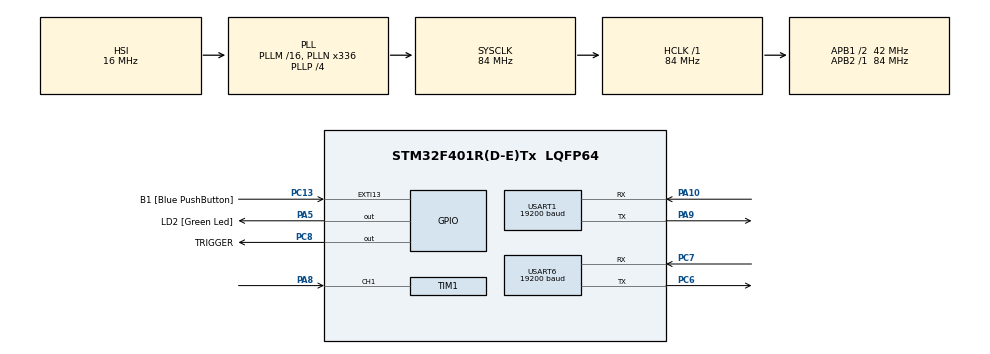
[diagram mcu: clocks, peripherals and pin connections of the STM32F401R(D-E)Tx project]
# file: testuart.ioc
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Mcu.Family=STM32F4
Mcu.Name=STM32F401R(D-E)Tx
Mcu.Package=LQFP64
NVIC.PriorityGroup=NVIC_PRIORITYGROUP_0
NVIC.TIM1_CC_IRQn=true\:0\:0\:false\:false\:true\:true\:true\:true
NVIC.USART1_IRQn=true\:0\:0\:false\:false\:true\:true\:true\:true
NVIC.USART6_IRQn=true\:0\:0\:false\:false\:true\:true\:true\:true
PA10.Mode=Asynchronous
PA10.Signal=USART1_RX
PA13.GPIO_Label=TMS
PA13.Signal=SYS_JTMS-SWDIO
PA14.GPIO_Label=TCK
PA14.Signal=SYS_JTCK-SWCLK
PA2.GPIO_Label=USART_TX
PA2.GPIO_Mode=GPIO_MODE_AF_PP
PA2.GPIO_PuPd=GPIO_NOPULL
PA2.GPIO_Speed=GPIO_SPEED_FREQ_LOW
PA2.Signal=USART2_TX
PA3.GPIO_Label=USART_RX
PA3.GPIO_Mode=GPIO_MODE_AF_PP
PA3.GPIO_PuPd=GPIO_NOPULL
PA3.GPIO_Speed=GPIO_SPEED_FREQ_LOW
PA3.Signal=USART2_RX
PA5.GPIO_Label=LD2 [Green Led]
PA5.GPIO_Mode=GPIO_MODE_OUTPUT_PP
PA5.GPIO_PuPd=GPIO_NOPULL
PA5.GPIO_Speed=GPIO_SPEED_FREQ_LOW
PA5.Signal=GPIO_Output
PA8.Signal=S_TIM1_CH1
PA9.Mode=Asynchronous
PA9.Signal=USART1_TX
PB3.GPIO_Label=SWO
PB3.Signal=SYS_JTDO-SWO
PC13-ANTI_TAMP.GPIO_Label=B1 [Blue PushButton]
PC13-ANTI_TAMP.GPIO_ModeDefaultEXTI=GPIO_MODE_IT_FALLING
PC13-ANTI_TAMP.GPIO_PuPd=GPIO_NOPULL
PC13-ANTI_TAMP.Signal=GPXTI13
PC14-OSC32_IN.Signal=RCC_OSC32_IN
PC15-OSC32_OUT.Signal=RCC_OSC32_OUT
PC6.Mode=Asynchronous
PC6.Signal=USART6_TX
PC7.Mode=Asynchronous
PC7.Signal=USART6_RX
PC8.GPIO_Label=TRIGGER
PC8.Signal=GPIO_Output
PH0\ -\ OSC_IN.Signal=RCC_OSC_IN
PH1\ -\ OSC_OUT.Signal=RCC_OSC_OUT
ProjectManager.HeapSize=0x200
ProjectManager.StackSize=0x400
ProjectManager.TargetToolchain=STM32CubeIDE
RCC.AHBFreq_Value=84000000
RCC.APB1CLKDivider=RCC_HCLK_DIV2
RCC.APB1Freq_Value=42000000
RCC.APB1TimFreq_Value=84000000
RCC.APB2Freq_Value=84000000
RCC.APB2TimFreq_Value=84000000
RCC.CortexFreq_Value=84000000
RCC.HCLKFreq_Value=84000000
RCC.HSE_VALUE=8000000
RCC.HSI_VALUE=16000000
RCC.LSE_VALUE=32768
RCC.PLLN=336
RCC.PLLP=RCC_PLLP_DIV4
RCC.PLLQ=7
RCC.SYSCLKFreq_VALUE=84000000
RCC.SYSCLKSource=RCC_SYSCLKSOURCE_PLLCLK
RCC.VCOOutputFreq_Value=336000000
SH.S_TIM1_CH1.0=TIM1_CH1,Input_Capture1_from_TI1
TIM1.Channel-Input_Capture1_from_TI1=TIM_CHANNEL_1
TIM1.Prescaler=71
USART1.BaudRate=19200
USART1.VirtualMode=VM_ASYNC
USART6.BaudRate=19200
USART6.VirtualMode=VM_ASYNC
VP_TIM1_VS_ClockSourceINT.Mode=Internal
board=NUCLEO-F401RE

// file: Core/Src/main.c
/* USER CODE BEGIN Header */
/**
  ******************************************************************************
  * @file           : main.c
  * @brief          : Main program body
  ******************************************************************************
  * @attention
  *
  * Copyright (c) 2023 STMicroelectronics.
  * All rights reserved.
  *
  * This software is licensed under terms that can be found in the LICENSE file
  * in the root directory of this software component.
  * If no LICENSE file comes with this software, it is provided AS-IS.
  *
  ******************************************************************************
  */
/* USER CODE END Header */
#include "main.h"

/* USER CODE BEGIN Includes */
#include <string.h>
#include <stdio.h>
#include <stdlib.h>
/* USER CODE END Includes */

/* USER CODE BEGIN PTD */
char uart1_buffer[7];
uint8_t uart1_index =0;
/* USER CODE END PTD */

TIM_HandleTypeDef htim1;

UART_HandleTypeDef huart1;
UART_HandleTypeDef huart6;

void SystemClock_Config(void);
static void MX_GPIO_Init(void);
static void MX_USART1_UART_Init(void);
static void MX_TIM1_Init(void);
static void MX_USART6_UART_Init(void);

/* USER CODE BEGIN 0 */

void delai_10us(uint16_t delai) {
	__HAL_TIM_SET_COUNTER(&htim1,0);
	while (__HAL_TIM_GET_COUNTER(&htim1) < delai);
}

int lancement_telemetre = 1;

uint32_t debut = 0;
uint32_t fin = 0;
uint32_t ecart = 0;
uint8_t detection = 0; // détection premiere valeur
uint8_t distance = 0;

#define TRIGGER_PORT GPIOC
#define TRIGGER_PIN GPIO_PIN_8

void TRIGGER_telemetre(void)
{
	HAL_GPIO_WritePin(TRIGGER_PORT, TRIGGER_PIN, GPIO_PIN_SET); // pin TRIGGER à l'état haut
	delai_10us(10);
	HAL_GPIO_WritePin(TRIGGER_PORT, TRIGGER_PIN, GPIO_PIN_RESET); // pin TRIGGER à l'état bas
}

void HAL_TIM_IC_CaptureCallback(TIM_HandleTypeDef *htim)
{
	if (htim->Instance == TIM1) // interruption sur Channel 1 : ECHO
	{
		if (detection == 0) // premiere valeur pas détectée -> état bas
		{
			debut = HAL_TIM_ReadCapturedValue(htim, TIM_CHANNEL_1); // lecture première valeur
			detection = 1; // premiere valeur detectée
			// scrutation des fronts descendants
			__HAL_TIM_SET_CAPTUREPOLARITY(htim, TIM_CHANNEL_1, TIM_INPUTCHANNELPOLARITY_FALLING);
		}

		else if (detection == 1) // premiere valeur détectée -> état haut
		{
			fin = HAL_TIM_ReadCapturedValue(htim, TIM_CHANNEL_1); // lecture dernière valeur
			__HAL_TIM_SET_COUNTER(htim, 0);

			ecart = abs(fin-debut);

			distance = (ecart * 0.034)/2; // cm

/*			if (distance<=50) {
				uint8_t stop[] = "stop\r";
				HAL_UART_Transmit(&huart6, stop, strlen((char *)stop), 300);
				//HAL_UART_Transmit_IT(&huart6, stop, strlen((char *)stop));
			}*/

			__HAL_TIM_SET_CAPTUREPOLARITY(htim, TIM_CHANNEL_1, TIM_INPUTCHANNELPOLARITY_RISING); // scrutation front montant
			detection = 0; //reset valeur détectée

			lancement_telemetre = 1; // relancement telemetre

		}
	}
}

/* USER CODE END 0 */

int main(void)
{

  /* MCU Configuration--------------------------------------------------------*/

  /* Reset of all peripherals, Initializes the Flash interface and the Systick. */
  HAL_Init();

  /* Configure the system clock */
  SystemClock_Config();

  /* Initialize all configured peripherals */
  MX_GPIO_Init();
  MX_USART1_UART_Init();
  MX_TIM1_Init();
  MX_USART6_UART_Init();
  /* USER CODE BEGIN 2 */
  HAL_TIM_IC_Start_IT(&htim1, TIM_CHANNEL_1);
  HAL_UART_Receive_IT(&huart1, (uint8_t *) &uart1_buffer[uart1_index],6);
  /* USER CODE END 2 */

  /* Infinite loop */
  while (1)
  {

    /* USER CODE BEGIN 3 */
	  if (lancement_telemetre == 1) {
		  lancement_telemetre = 0;
		  TRIGGER_telemetre();
	  }
  }
  /* USER CODE END 3 */
}

void SystemClock_Config(void)
{
  RCC_OscInitTypeDef RCC_OscInitStruct = {0};
  RCC_ClkInitTypeDef RCC_ClkInitStruct = {0};

  /** Configure the main internal regulator output voltage
  */
  __HAL_RCC_PWR_CLK_ENABLE();
  __HAL_PWR_VOLTAGESCALING_CONFIG(PWR_REGULATOR_VOLTAGE_SCALE2);

  /** Initializes the RCC Oscillators according to the specified parameters
  * in the RCC_OscInitTypeDef structure.
  */
  RCC_OscInitStruct.OscillatorType = RCC_OSCILLATORTYPE_HSI;
  RCC_OscInitStruct.HSIState = RCC_HSI_ON;
  RCC_OscInitStruct.HSICalibrationValue = RCC_HSICALIBRATION_DEFAULT;
  RCC_OscInitStruct.PLL.PLLState = RCC_PLL_ON;
  RCC_OscInitStruct.PLL.PLLSource = RCC_PLLSOURCE_HSI;
  RCC_OscInitStruct.PLL.PLLM = 16;
  RCC_OscInitStruct.PLL.PLLN = 336;
  RCC_OscInitStruct.PLL.PLLP = RCC_PLLP_DIV4;
  RCC_OscInitStruct.PLL.PLLQ = 7;
  if (HAL_RCC_OscConfig(&RCC_OscInitStruct) != HAL_OK)
  {
    Error_Handler();
  }

  /** Initializes the CPU, AHB and APB buses clocks
  */
  RCC_ClkInitStruct.ClockType = RCC_CLOCKTYPE_HCLK|RCC_CLOCKTYPE_SYSCLK
                              |RCC_CLOCKTYPE_PCLK1|RCC_CLOCKTYPE_PCLK2;
  RCC_ClkInitStruct.SYSCLKSource = RCC_SYSCLKSOURCE_PLLCLK;
  RCC_ClkInitStruct.AHBCLKDivider = RCC_SYSCLK_DIV1;
  RCC_ClkInitStruct.APB1CLKDivider = RCC_HCLK_DIV2;
  RCC_ClkInitStruct.APB2CLKDivider = RCC_HCLK_DIV1;

  if (HAL_RCC_ClockConfig(&RCC_ClkInitStruct, FLASH_LATENCY_2) != HAL_OK)
  {
    Error_Handler();
  }
}

static void MX_TIM1_Init(void)
{

  TIM_ClockConfigTypeDef sClockSourceConfig = {0};
  TIM_MasterConfigTypeDef sMasterConfig = {0};
  TIM_IC_InitTypeDef sConfigIC = {0};

  htim1.Instance = TIM1;
  htim1.Init.Prescaler = 71;
  htim1.Init.CounterMode = TIM_COUNTERMODE_UP;
  htim1.Init.Period = 65535;
  htim1.Init.ClockDivision = TIM_CLOCKDIVISION_DIV1;
  htim1.Init.RepetitionCounter = 0;
  htim1.Init.AutoReloadPreload = TIM_AUTORELOAD_PRELOAD_DISABLE;
  if (HAL_TIM_Base_Init(&htim1) != HAL_OK)
  {
    Error_Handler();
  }
  sClockSourceConfig.ClockSource = TIM_CLOCKSOURCE_INTERNAL;
  if (HAL_TIM_ConfigClockSource(&htim1, &sClockSourceConfig) != HAL_OK)
  {
    Error_Handler();
  }
  if (HAL_TIM_IC_Init(&htim1) != HAL_OK)
  {
    Error_Handler();
  }
  sMasterConfig.MasterOutputTrigger = TIM_TRGO_RESET;
  sMasterConfig.MasterSlaveMode = TIM_MASTERSLAVEMODE_DISABLE;
  if (HAL_TIMEx_MasterConfigSynchronization(&htim1, &sMasterConfig) != HAL_OK)
  {
    Error_Handler();
  }
  sConfigIC.ICPolarity = TIM_INPUTCHANNELPOLARITY_RISING;
  sConfigIC.ICSelection = TIM_ICSELECTION_DIRECTTI;
  sConfigIC.ICPrescaler = TIM_ICPSC_DIV1;
  sConfigIC.ICFilter = 0;
  if (HAL_TIM_IC_ConfigChannel(&htim1, &sConfigIC, TIM_CHANNEL_1) != HAL_OK)
  {
    Error_Handler();
  }

}

static void MX_USART1_UART_Init(void)
{

  huart1.Instance = USART1;
  huart1.Init.BaudRate = 19200;
  huart1.Init.WordLength = UART_WORDLENGTH_8B;
  huart1.Init.StopBits = UART_STOPBITS_1;
  huart1.Init.Parity = UART_PARITY_NONE;
  huart1.Init.Mode = UART_MODE_TX_RX;
  huart1.Init.HwFlowCtl = UART_HWCONTROL_NONE;
  huart1.Init.OverSampling = UART_OVERSAMPLING_16;
  if (HAL_UART_Init(&huart1) != HAL_OK)
  {
    Error_Handler();
  }

}

static void MX_USART6_UART_Init(void)
{

  huart6.Instance = USART6;
  huart6.Init.BaudRate = 19200;
  huart6.Init.WordLength = UART_WORDLENGTH_8B;
  huart6.Init.StopBits = UART_STOPBITS_1;
  huart6.Init.Parity = UART_PARITY_NONE;
  huart6.Init.Mode = UART_MODE_TX_RX;
  huart6.Init.HwFlowCtl = UART_HWCONTROL_NONE;
  huart6.Init.OverSampling = UART_OVERSAMPLING_16;
  if (HAL_UART_Init(&huart6) != HAL_OK)
  {
    Error_Handler();
  }

}

static void MX_GPIO_Init(void)
{
  GPIO_InitTypeDef GPIO_InitStruct = {0};

  /* GPIO Ports Clock Enable */
  __HAL_RCC_GPIOC_CLK_ENABLE();
  __HAL_RCC_GPIOH_CLK_ENABLE();
  __HAL_RCC_GPIOA_CLK_ENABLE();
  __HAL_RCC_GPIOB_CLK_ENABLE();

  /*Configure GPIO pin Output Level */
  HAL_GPIO_WritePin(LD2_GPIO_Port, LD2_Pin, GPIO_PIN_RESET);

  /*Configure GPIO pin Output Level */
  HAL_GPIO_WritePin(TRIGGER_GPIO_Port, TRIGGER_Pin, GPIO_PIN_RESET);

  /*Configure GPIO pin : B1_Pin */
  GPIO_InitStruct.Pin = B1_Pin;
  GPIO_InitStruct.Mode = GPIO_MODE_IT_FALLING;
  GPIO_InitStruct.Pull = GPIO_NOPULL;
  HAL_GPIO_Init(B1_GPIO_Port, &GPIO_InitStruct);

  /*Configure GPIO pins : USART_TX_Pin USART_RX_Pin */
  GPIO_InitStruct.Pin = USART_TX_Pin|USART_RX_Pin;
  GPIO_InitStruct.Mode = GPIO_MODE_AF_PP;
  GPIO_InitStruct.Pull = GPIO_NOPULL;
  GPIO_InitStruct.Speed = GPIO_SPEED_FREQ_LOW;
  GPIO_InitStruct.Alternate = GPIO_AF7_USART2;
  HAL_GPIO_Init(GPIOA, &GPIO_InitStruct);

  /*Configure GPIO pin : LD2_Pin */
  GPIO_InitStruct.Pin = LD2_Pin;
  GPIO_InitStruct.Mode = GPIO_MODE_OUTPUT_PP;
  GPIO_InitStruct.Pull = GPIO_NOPULL;
  GPIO_InitStruct.Speed = GPIO_SPEED_FREQ_LOW;
  HAL_GPIO_Init(LD2_GPIO_Port, &GPIO_InitStruct);

  /*Configure GPIO pin : TRIGGER_Pin */
  GPIO_InitStruct.Pin = TRIGGER_Pin;
  GPIO_InitStruct.Mode = GPIO_MODE_OUTPUT_PP;
  GPIO_InitStruct.Pull = GPIO_NOPULL;
  GPIO_InitStruct.Speed = GPIO_SPEED_FREQ_LOW;
  HAL_GPIO_Init(TRIGGER_GPIO_Port, &GPIO_InitStruct);

}

/* USER CODE BEGIN 4 */
/*void HAL_UART_RxCpltCallback(UART_HandleTypeDef *huart)
{
	HAL_UART_Transmit(&huart1,  (uint8_t *) &uart1_buffer[uart1_index], 6, 100);
	HAL_UART_Receive_IT(&huart1, (uint8_t *) &uart1_buffer[uart1_index],6);
}*/
void HAL_UART_RxCpltCallback(UART_HandleTypeDef *huart)
{
	if (huart == &huart1) {
		while (HAL_UART_GetState(&huart6) == HAL_UART_STATE_BUSY_TX) {

		}
		uart1_buffer[6] = '\0';

		while (uart1_index<7){ // parcours de chaque caractère

			if (uart1_buffer[uart1_index] == '/') { // détection de bonne réception
				 if (strncmp(uart1_buffer, "00001/", 7) == 0) { // comparaison avec la commande choisie
					 uint8_t avant[] = "digo 1:1000:20 2:1000:20\r";
					 HAL_UART_Transmit(&huart6, avant, strlen((char *)avant), 300);
				 }

				 if (strncmp(uart1_buffer, "00010/", 7) == 0) { // comparaison avec la commande choisie
				 					 uint8_t droite[] = "digo 1:500:20 2:-500:20\r";
				 					 HAL_UART_Transmit(&huart6, droite, strlen((char *)droite), 300);
				 				 }

				 if (strncmp(uart1_buffer, "00100/", 7) == 0) { // comparaison avec la commande choisie
				 					 uint8_t gauche[] = "digo 1:-500:20 2:500:20\r";
				 					 HAL_UART_Transmit(&huart6, gauche, strlen((char *)gauche), 300);
				 				 }

				 if (strncmp(uart1_buffer, "01000/", 7) == 0) { // comparaison avec la commande choisie
				 					 uint8_t arriere[] = "digo 1:-500:20 2:-500:20\r";
				 					 HAL_UART_Transmit(&huart6, arriere, strlen((char *)arriere), 300);
				 				 }
			}
			uart1_index++;
		}
	 }
	uart1_index=0;
	HAL_UART_Transmit(&huart1,  (uint8_t *) &uart1_buffer[uart1_index], 6, 100);
	HAL_UART_Receive_IT(&huart1, (uint8_t *) &uart1_buffer[uart1_index],6);
}
/* USER CODE END 4 */

void Error_Handler(void)
{
  __disable_irq();
  while (1)
  {
  }
}
